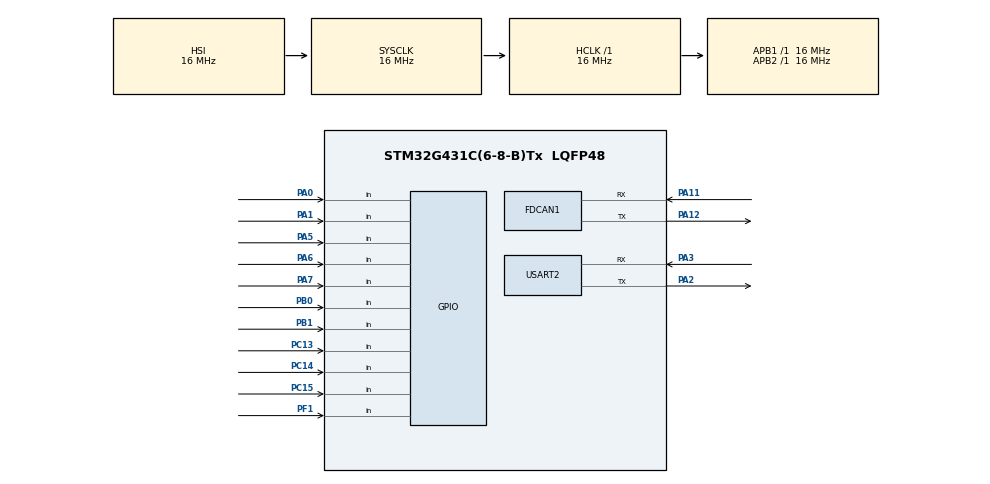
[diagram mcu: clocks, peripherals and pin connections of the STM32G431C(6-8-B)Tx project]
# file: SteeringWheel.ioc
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FDCAN1.CalculateBaudRateNominal=1000000
FDCAN1.CalculateTimeBitNominal=1000
FDCAN1.CalculateTimeQuantumNominal=62.5
FDCAN1.NominalPrescaler=1
FDCAN1.NominalTimeSeg1=13
Mcu.Family=STM32G4
Mcu.Name=STM32G431C(6-8-B)Tx
Mcu.Package=LQFP48
NVIC.PriorityGroup=NVIC_PRIORITYGROUP_4
NVIC.TIM4_IRQn=true\:0\:0\:false\:false\:true\:true\:true\:true
PA0.Signal=GPIO_Input
PA1.Signal=GPIO_Input
PA11.Mode=FDCAN_Activate
PA11.Signal=FDCAN1_RX
PA12.Mode=FDCAN_Activate
PA12.Signal=FDCAN1_TX
PA13.Mode=Trace_Asynchronous_SW
PA13.Signal=SYS_JTMS-SWDIO
PA14.Mode=Trace_Asynchronous_SW
PA14.Signal=SYS_JTCK-SWCLK
PA15.Signal=SYS_JTDI
PA2.Mode=Asynchronous
PA2.Signal=USART2_TX
PA3.Mode=Asynchronous
PA3.Signal=USART2_RX
PA5.Signal=GPIO_Input
PA6.Signal=GPIO_Input
PA7.Signal=GPIO_Input
PB0.Signal=GPIO_Input
PB1.Signal=GPIO_Input
PB3.Mode=Trace_Asynchronous_SW
PB3.Signal=SYS_JTDO-SWO
PC13.Signal=GPIO_Input
PC14-OSC32_IN.Signal=GPIO_Input
PC15-OSC32_OUT.Signal=GPIO_Input
PF0-OSC_IN.Signal=RCC_OSC_IN
PF1-OSC_OUT.Signal=GPIO_Input
ProjectManager.HeapSize=0x200
ProjectManager.StackSize=0x400
ProjectManager.TargetToolchain=Makefile
RCC.AHBFreq_Value=16000000
RCC.APB1Freq_Value=16000000
RCC.APB1TimFreq_Value=16000000
RCC.APB2Freq_Value=16000000
RCC.APB2TimFreq_Value=16000000
RCC.CortexFreq_Value=16000000
RCC.EXTERNAL_CLOCK_VALUE=12288000
RCC.HCLKFreq_Value=16000000
RCC.HSE_VALUE=8000000
RCC.HSI48_VALUE=48000000
RCC.HSI_VALUE=16000000
RCC.LSE_VALUE=32768
RCC.SYSCLKFreq_VALUE=16000000
RCC.USBFreq_Value=64000000
RCC.VCOOutputFreq_Value=128000000
TIM4.PeriodNoDither=3200 - 1
TIM4.Prescaler=100 -1
TIM4.TIM_MasterOutputTrigger=TIM_TRGO_UPDATE
USART2.VirtualMode-Asynchronous=VM_ASYNC
VP_SYS_VS_DBSignals.Mode=DisableDeadBatterySignals
VP_TIM4_VS_ClockSourceINT.Mode=Internal
board=custom

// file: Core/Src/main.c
/* USER CODE BEGIN Header */
/**
 ******************************************************************************
 * @file           : main.c
 * @brief          : Main program body
 ******************************************************************************
 * @attention
 *
 * Copyright (c) 2024 STMicroelectronics.
 * All rights reserved.
 *
 * This software is licensed under terms that can be found in the LICENSE file
 * in the root directory of this software component.
 * If no LICENSE file comes with this software, it is provided AS-IS.
 *
 ******************************************************************************
 */
/* USER CODE END Header */
#include "main.h"

/* USER CODE BEGIN Includes */
#include "stdio.h"
/* USER CODE END Includes */

FDCAN_HandleTypeDef hfdcan1;

TIM_HandleTypeDef htim4;

UART_HandleTypeDef huart2;

/* USER CODE BEGIN PV */
FDCAN_TxHeaderTypeDef tx_header;
uint8_t can_message_content[8];

uint8_t button_inputs;
uint8_t paddle_inputs;
uint32_t last_tick;
/* USER CODE END PV */

void SystemClock_Config(void);
static void MX_GPIO_Init(void);
static void MX_FDCAN1_Init(void);
static void MX_USART2_UART_Init(void);
static void MX_TIM4_Init(void);

int main(void)
{

  /* MCU Configuration--------------------------------------------------------*/

  /* Reset of all peripherals, Initializes the Flash interface and the Systick. */
  HAL_Init();

  /* Configure the system clock */
  SystemClock_Config();

  /* Initialize all configured peripherals */
  MX_GPIO_Init();
  MX_FDCAN1_Init();
  MX_USART2_UART_Init();
  MX_TIM4_Init();
  /* USER CODE BEGIN 2 */
  last_tick = 0;
  tx_header.Identifier = 0x680;
  tx_header.IdType = FDCAN_STANDARD_ID;
  tx_header.TxFrameType = FDCAN_DATA_FRAME;
  tx_header.DataLength = FDCAN_DLC_BYTES_8; // Specifies the number of data bytes to be transmitted
  tx_header.BitRateSwitch = FDCAN_BRS_OFF;
  tx_header.FDFormat = FDCAN_CLASSIC_CAN;
  tx_header.TxEventFifoControl = FDCAN_NO_TX_EVENTS;

  HAL_TIM_Base_Start_IT(&htim4);
  /* USER CODE END 2 */

  /* Infinite loop */
  while (1)
  {

    /* USER CODE BEGIN 3 */
    // Connectors from right to left mapped to bits 0 through 7. J6 (last connector on the left) is unused.
    //| MSB:J10 | J12 | J7 | J9 | J11 | J13 | J5 | J8:LSB |
    button_inputs = 0x00;
    button_inputs = button_inputs | HAL_GPIO_ReadPin(GPIOC, GPIO_PIN_13);        // PB6, J8
    button_inputs = button_inputs | (HAL_GPIO_ReadPin(GPIOC, GPIO_PIN_14)) << 1; // PB5, J5
    button_inputs = button_inputs | (HAL_GPIO_ReadPin(GPIOC, GPIO_PIN_15)) << 2; // PB4, J13
    button_inputs = button_inputs | (HAL_GPIO_ReadPin(GPIOF, GPIO_PIN_1)) << 3;  // PB3, J11
    button_inputs = button_inputs | (HAL_GPIO_ReadPin(GPIOA, GPIO_PIN_0)) << 4;  // PB2, J9
    button_inputs = button_inputs | (HAL_GPIO_ReadPin(GPIOA, GPIO_PIN_1)) << 5;  // PB1, J7
    button_inputs = button_inputs | (HAL_GPIO_ReadPin(GPIOA, GPIO_PIN_7)) << 6;  // PB9, J12
    button_inputs = button_inputs | (HAL_GPIO_ReadPin(GPIOB, GPIO_PIN_0)) << 7;  // PB8, J10

    paddle_inputs = 0x00;
    paddle_inputs = paddle_inputs | HAL_GPIO_ReadPin(GPIOA, GPIO_PIN_5);        // PA5, J1
    paddle_inputs = paddle_inputs | (HAL_GPIO_ReadPin(GPIOA, GPIO_PIN_6)) << 1; // PA6, J2
    paddle_inputs = paddle_inputs | (HAL_GPIO_ReadPin(GPIOB, GPIO_PIN_1)) << 2; // PB7

    // Defining CAN message to be sent
    can_message_content[0] = button_inputs;
    can_message_content[1] = paddle_inputs;
    can_message_content[2] = 0x00;
    can_message_content[3] = 0x00;
    can_message_content[4] = 0x00;
    can_message_content[5] = 0x00;
    can_message_content[6] = 0x00;
    can_message_content[7] = 0x00;
  }
  /* USER CODE END 3 */
}

void SystemClock_Config(void)
{
  RCC_OscInitTypeDef RCC_OscInitStruct = {0};
  RCC_ClkInitTypeDef RCC_ClkInitStruct = {0};

  /** Configure the main internal regulator output voltage
   */
  HAL_PWREx_ControlVoltageScaling(PWR_REGULATOR_VOLTAGE_SCALE1);

  /** Initializes the RCC Oscillators according to the specified parameters
   * in the RCC_OscInitTypeDef structure.
   */
  RCC_OscInitStruct.OscillatorType = RCC_OSCILLATORTYPE_HSI;
  RCC_OscInitStruct.HSIState = RCC_HSI_ON;
  RCC_OscInitStruct.HSICalibrationValue = RCC_HSICALIBRATION_DEFAULT;
  RCC_OscInitStruct.PLL.PLLState = RCC_PLL_NONE;
  if (HAL_RCC_OscConfig(&RCC_OscInitStruct) != HAL_OK)
  {
    Error_Handler();
  }

  /** Initializes the CPU, AHB and APB buses clocks
   */
  RCC_ClkInitStruct.ClockType = RCC_CLOCKTYPE_HCLK | RCC_CLOCKTYPE_SYSCLK | RCC_CLOCKTYPE_PCLK1 | RCC_CLOCKTYPE_PCLK2;
  RCC_ClkInitStruct.SYSCLKSource = RCC_SYSCLKSOURCE_HSI;
  RCC_ClkInitStruct.AHBCLKDivider = RCC_SYSCLK_DIV1;
  RCC_ClkInitStruct.APB1CLKDivider = RCC_HCLK_DIV1;
  RCC_ClkInitStruct.APB2CLKDivider = RCC_HCLK_DIV1;

  if (HAL_RCC_ClockConfig(&RCC_ClkInitStruct, FLASH_LATENCY_0) != HAL_OK)
  {
    Error_Handler();
  }
}

static void MX_FDCAN1_Init(void)
{

  hfdcan1.Instance = FDCAN1;
  hfdcan1.Init.ClockDivider = FDCAN_CLOCK_DIV1;
  hfdcan1.Init.FrameFormat = FDCAN_FRAME_CLASSIC;
  hfdcan1.Init.Mode = FDCAN_MODE_NORMAL;
  hfdcan1.Init.AutoRetransmission = DISABLE;
  hfdcan1.Init.TransmitPause = DISABLE;
  hfdcan1.Init.ProtocolException = DISABLE;
  hfdcan1.Init.NominalPrescaler = 1;
  hfdcan1.Init.NominalSyncJumpWidth = 1;
  hfdcan1.Init.NominalTimeSeg1 = 13;
  hfdcan1.Init.NominalTimeSeg2 = 2;
  hfdcan1.Init.DataPrescaler = 1;
  hfdcan1.Init.DataSyncJumpWidth = 1;
  hfdcan1.Init.DataTimeSeg1 = 1;
  hfdcan1.Init.DataTimeSeg2 = 1;
  hfdcan1.Init.StdFiltersNbr = 0;
  hfdcan1.Init.ExtFiltersNbr = 0;
  hfdcan1.Init.TxFifoQueueMode = FDCAN_TX_FIFO_OPERATION;
  if (HAL_FDCAN_Init(&hfdcan1) != HAL_OK)
  {
    Error_Handler();
  }
  /* USER CODE BEGIN FDCAN1_Init 2 */
  if (HAL_FDCAN_Start(&hfdcan1) != HAL_OK)
  {
    Error_Handler();
  }

  /* USER CODE END FDCAN1_Init 2 */
}

static void MX_TIM4_Init(void)
{

  TIM_ClockConfigTypeDef sClockSourceConfig = {0};
  TIM_MasterConfigTypeDef sMasterConfig = {0};

  htim4.Instance = TIM4;
  htim4.Init.Prescaler = 100 - 1;
  htim4.Init.CounterMode = TIM_COUNTERMODE_UP;
  htim4.Init.Period = 3199;
  htim4.Init.ClockDivision = TIM_CLOCKDIVISION_DIV1;
  htim4.Init.AutoReloadPreload = TIM_AUTORELOAD_PRELOAD_DISABLE;
  if (HAL_TIM_Base_Init(&htim4) != HAL_OK)
  {
    Error_Handler();
  }
  sClockSourceConfig.ClockSource = TIM_CLOCKSOURCE_INTERNAL;
  if (HAL_TIM_ConfigClockSource(&htim4, &sClockSourceConfig) != HAL_OK)
  {
    Error_Handler();
  }
  sMasterConfig.MasterOutputTrigger = TIM_TRGO_UPDATE;
  sMasterConfig.MasterSlaveMode = TIM_MASTERSLAVEMODE_DISABLE;
  if (HAL_TIMEx_MasterConfigSynchronization(&htim4, &sMasterConfig) != HAL_OK)
  {
    Error_Handler();
  }
}

static void MX_USART2_UART_Init(void)
{

  huart2.Instance = USART2;
  huart2.Init.BaudRate = 115200;
  huart2.Init.WordLength = UART_WORDLENGTH_8B;
  huart2.Init.StopBits = UART_STOPBITS_1;
  huart2.Init.Parity = UART_PARITY_NONE;
  huart2.Init.Mode = UART_MODE_TX_RX;
  huart2.Init.HwFlowCtl = UART_HWCONTROL_NONE;
  huart2.Init.OverSampling = UART_OVERSAMPLING_16;
  huart2.Init.OneBitSampling = UART_ONE_BIT_SAMPLE_DISABLE;
  huart2.Init.ClockPrescaler = UART_PRESCALER_DIV1;
  huart2.AdvancedInit.AdvFeatureInit = UART_ADVFEATURE_NO_INIT;
  if (HAL_UART_Init(&huart2) != HAL_OK)
  {
    Error_Handler();
  }
  if (HAL_UARTEx_SetTxFifoThreshold(&huart2, UART_TXFIFO_THRESHOLD_1_8) != HAL_OK)
  {
    Error_Handler();
  }
  if (HAL_UARTEx_SetRxFifoThreshold(&huart2, UART_RXFIFO_THRESHOLD_1_8) != HAL_OK)
  {
    Error_Handler();
  }
  if (HAL_UARTEx_DisableFifoMode(&huart2) != HAL_OK)
  {
    Error_Handler();
  }
  /* USER CODE BEGIN USART2_Init 2 */
  printf("Retargeted usart!");

  /* USER CODE END USART2_Init 2 */
}

static void MX_GPIO_Init(void)
{
  GPIO_InitTypeDef GPIO_InitStruct = {0};

  /* GPIO Ports Clock Enable */
  __HAL_RCC_GPIOC_CLK_ENABLE();
  __HAL_RCC_GPIOF_CLK_ENABLE();
  __HAL_RCC_GPIOA_CLK_ENABLE();
  __HAL_RCC_GPIOB_CLK_ENABLE();

  /*Configure GPIO pins : PC13 PC14 PC15 */
  GPIO_InitStruct.Pin = GPIO_PIN_13 | GPIO_PIN_14 | GPIO_PIN_15;
  GPIO_InitStruct.Mode = GPIO_MODE_INPUT;
  GPIO_InitStruct.Pull = GPIO_NOPULL;
  HAL_GPIO_Init(GPIOC, &GPIO_InitStruct);

  /*Configure GPIO pin : PF1 */
  GPIO_InitStruct.Pin = GPIO_PIN_1;
  GPIO_InitStruct.Mode = GPIO_MODE_INPUT;
  GPIO_InitStruct.Pull = GPIO_NOPULL;
  HAL_GPIO_Init(GPIOF, &GPIO_InitStruct);

  /*Configure GPIO pins : PA0 PA1 PA5 PA6
                           PA7 */
  GPIO_InitStruct.Pin = GPIO_PIN_0 | GPIO_PIN_1 | GPIO_PIN_5 | GPIO_PIN_6 | GPIO_PIN_7;
  GPIO_InitStruct.Mode = GPIO_MODE_INPUT;
  GPIO_InitStruct.Pull = GPIO_NOPULL;
  HAL_GPIO_Init(GPIOA, &GPIO_InitStruct);

  /*Configure GPIO pins : PB0 PB1 */
  GPIO_InitStruct.Pin = GPIO_PIN_0 | GPIO_PIN_1;
  GPIO_InitStruct.Mode = GPIO_MODE_INPUT;
  GPIO_InitStruct.Pull = GPIO_NOPULL;
  HAL_GPIO_Init(GPIOB, &GPIO_InitStruct);

}

/* USER CODE BEGIN 4 */
int _write(int fd, char *ptr, int len)
{
  HAL_UART_Transmit(&huart2, (uint8_t *)ptr, len, HAL_MAX_DELAY);
  return len;
}

// updates the CAN TX FIFO precisely every 8ms
void HAL_TIM_PeriodElapsedCallback(TIM_HandleTypeDef *htim)
{
  // printf("\n\r%ld\n\r", HAL_GetTick());

  FDCAN_ProtocolStatusTypeDef proc_stat;
  HAL_FDCAN_GetProtocolStatus(&hfdcan1, &proc_stat);
  if (proc_stat.LastErrorCode != 0 || proc_stat.BusOff != 0)
  {
    printf("\n\rLast err %ld\r\n", proc_stat.LastErrorCode);
    printf("\n\r Bus err %ld\r\n", proc_stat.BusOff);
  }
  // Adds another message to the CAN FIFO every 20ms
  HAL_FDCAN_AddMessageToTxFifoQ(&hfdcan1, &tx_header, can_message_content);
}

/* USER CODE END 4 */

void Error_Handler(void)
{
  /* USER CODE BEGIN Error_Handler_Debug */
  /* User can add his own implementation to report the HAL error return state */
  __disable_irq();
  printf("Error encountered!");
  while (1)
  {
  }
  /* USER CODE END Error_Handler_Debug */
}
